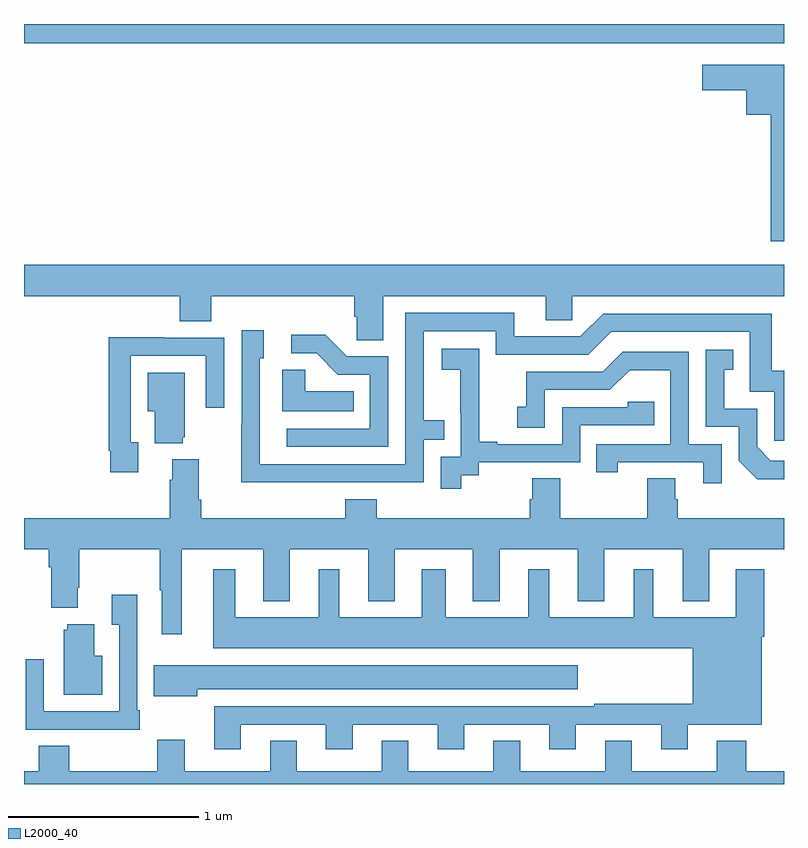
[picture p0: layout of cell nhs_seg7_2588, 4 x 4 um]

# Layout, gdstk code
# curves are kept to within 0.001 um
import gdstk
lib = gdstk.Library(unit=1e-6, precision=1e-09)
def R(c, l, rs):  # rectangles x0, y0, x1, y1
    for r in rs: c.add(gdstk.rectangle(r[:2], r[2:], *l))
def P(c, l, *ps):  # polygons
    for p in ps: c.add(gdstk.Polygon(p, *l))
L2000_40 = (2000, 40)

nhs_seg7_2588 = lib.new_cell('nhs_seg7_2588')
R(nhs_seg7_2588, L2000_40, [(279,1049.9,283,1050)])
P(nhs_seg7_2588, L2000_40, [(283,1049.785),(282.57,1049.785),(282.57,1049.651),(282.8,1049.651),(282.8,1049.522),(282.93,1049.522),(282.93,1048.857),(283,1048.857)],
  [(280.891,1048.568),(281.747,1048.568),(281.747,1048.441),(281.886,1048.441),(281.886,1048.568),(283,1048.568),(283,1048.732),(279,1048.732),(279,1048.568),(279.821,1048.568),(279.821,1048.435),(279.986,1048.435),(279.986,1048.568),(280.739,1048.568),(280.739,1048.459),(280.752,1048.459),(280.752,1048.336),(280.891,1048.336)],
  [(280.607,1047.588),(281.103,1047.588),(281.103,1047.813),(281.213,1047.813),(281.213,1047.914),(281.103,1047.914),(281.103,1048.383),(281.484,1048.383),(281.484,1048.26),(281.97,1048.26),(282.09,1048.38),(282.819,1048.38),(282.819,1048.065),(282.948,1048.065),(282.948,1047.807),(283,1047.807),(283,1048.174),(282.935,1048.174),(282.935,1048.476),(282.048,1048.476),(281.928,1048.356),(281.581,1048.356),(281.581,1048.479),(281.007,1048.479),(281.007,1047.684),(280.242,1047.684),(280.242,1048.242),(280.261,1048.242),(280.261,1048.387),(280.146,1048.387),(280.146,1047.893),(280.144,1047.893),(280.144,1047.587)],
  [(280.917,1048.251),(280.698,1048.251),(280.585,1048.364),(280.407,1048.364),(280.407,1048.266),(280.541,1048.266),(280.652,1048.155),(280.821,1048.155),(280.821,1047.87),(280.383,1047.87),(280.383,1047.774),(280.917,1047.774)],
  [(279.601,1047.798),(279.561,1047.798),(279.561,1048.254),(279.957,1048.254),(279.957,1047.981),(280.053,1047.981),(280.053,1048.35),(279.737,1048.35),(279.737,1048.352),(279.445,1048.352),(279.445,1047.754),(279.453,1047.754),(279.453,1047.642),(279.601,1047.642)],
  [(281.302,1047.625),(281.394,1047.625),(281.394,1047.693),(281.928,1047.693),(281.928,1047.888),(282.317,1047.888),(282.317,1048.011),(282.177,1048.011),(282.177,1047.984),(281.832,1047.984),(281.832,1047.789),(281.491,1047.789),(281.491,1047.802),(281.396,1047.802),(281.396,1048.085),(281.397,1048.085),(281.397,1048.291),(281.199,1048.291),(281.199,1048.181),(281.297,1048.181),(281.297,1047.953),(281.298,1047.953),(281.298,1047.723),(281.193,1047.723),(281.193,1047.555),(281.302,1047.555)],
  [(283,1047.702),(282.93,1047.702),(282.858,1047.774),(282.858,1047.975),(282.685,1047.975),(282.685,1048.179),(282.734,1048.179),(282.734,1048.285),(282.588,1048.285),(282.588,1047.879),(282.762,1047.879),(282.762,1047.702),(282.86,1047.605),(283,1047.605)],
  [(282.672,1047.789),(282.498,1047.789),(282.498,1048.275),(282.152,1048.275),(282.047,1048.17),(281.644,1048.17),(281.644,1047.985),(281.595,1047.985),(281.595,1047.876),(281.742,1047.876),(281.742,1048.074),(282.084,1048.074),(282.188,1048.178),(282.402,1048.178),(282.402,1047.789),(282.013,1047.789),(282.013,1047.642),(282.124,1047.642),(282.124,1047.693),(282.575,1047.693),(282.575,1047.582),(282.672,1047.582)],
  [(280.736,1048.066),(280.479,1048.066),(280.479,1048.181),(280.358,1048.181),(280.358,1047.962),(280.736,1047.962)],
  [(279.836,1047.825),(279.847,1047.825),(279.847,1048.165),(279.65,1048.165),(279.65,1047.962),(279.689,1047.962),(279.689,1047.794),(279.836,1047.794)],
  [(279.829,1047.236),(280.259,1047.236),(280.259,1046.963),(280.399,1046.963),(280.399,1047.236),(280.811,1047.236),(280.811,1046.963),(280.951,1046.963),(280.951,1047.236),(281.363,1047.236),(281.363,1046.963),(281.503,1046.963),(281.503,1047.236),(281.915,1047.236),(281.915,1046.963),(282.055,1046.963),(282.055,1047.236),(282.467,1047.236),(282.467,1046.963),(282.607,1046.963),(282.607,1047.236),(283,1047.236),(283,1047.4),(282.44,1047.4),(282.44,1047.498),(282.427,1047.498),(282.427,1047.608),(282.28,1047.608),(282.28,1047.4),(281.823,1047.4),(281.823,1047.608),(281.675,1047.608),(281.675,1047.498),(281.663,1047.498),(281.663,1047.4),(280.856,1047.4),(280.856,1047.499),(280.691,1047.499),(280.691,1047.4),(279.932,1047.4),(279.932,1047.496),(279.919,1047.496),(279.919,1047.709),(279.779,1047.709),(279.779,1047.602),(279.767,1047.602),(279.767,1047.4),(279,1047.4),(279,1047.236),(279.131,1047.236),(279.131,1047.14),(279.143,1047.14),(279.143,1046.927),(279.283,1046.927),(279.283,1047.034),(279.291,1047.034),(279.291,1047.236),(279.715,1047.236),(279.715,1047.02),(279.725,1047.02),(279.725,1046.787),(279.829,1046.787)],
  [(280.141,1046.313),(280.589,1046.313),(280.589,1046.184),(280.729,1046.184),(280.729,1046.313),(281.177,1046.313),(281.177,1046.184),(281.317,1046.184),(281.317,1046.313),(281.765,1046.313),(281.765,1046.184),(281.905,1046.184),(281.905,1046.313),(282.353,1046.313),(282.353,1046.184),(282.493,1046.184),(282.493,1046.312),(282.883,1046.312),(282.883,1046.774),(282.896,1046.774),(282.896,1047.13),(282.746,1047.13),(282.746,1046.878),(282.313,1046.878),(282.313,1047.13),(282.209,1047.13),(282.209,1046.878),(281.764,1046.878),(281.764,1047.13),(281.654,1047.13),(281.654,1046.878),(281.221,1046.878),(281.221,1047.13),(281.093,1047.13),(281.093,1046.878),(280.66,1046.878),(280.66,1047.13),(280.55,1047.13),(280.55,1046.878),(280.111,1046.878),(280.111,1047.13),(279.995,1047.13),(279.995,1046.714),(282.521,1046.714),(282.521,1046.422),(282.001,1046.422),(282.001,1046.409),(280.001,1046.409),(280.001,1046.184),(280.141,1046.184)],
  [(279.61,1046.389),(279.597,1046.389),(279.597,1046.995),(279.461,1046.995),(279.461,1046.839),(279.501,1046.839),(279.501,1046.382),(279.105,1046.382),(279.105,1046.656),(279.009,1046.656),(279.009,1046.286),(279.325,1046.286),(279.325,1046.285),(279.61,1046.285)],
  [(279.412,1046.674),(279.37,1046.674),(279.37,1046.842),(279.227,1046.842),(279.227,1046.811),(279.209,1046.811),(279.209,1046.471),(279.412,1046.471)],
  [(279.913,1046.498),(281.914,1046.498),(281.914,1046.626),(279.684,1046.626),(279.684,1046.462),(279.913,1046.462)],
  [(283,1046.068),(282.8,1046.068),(282.8,1046.227),(282.647,1046.227),(282.647,1046.068),(282.199,1046.068),(282.199,1046.228),(282.059,1046.228),(282.059,1046.068),(281.611,1046.068),(281.611,1046.228),(281.471,1046.228),(281.471,1046.068),(281.023,1046.068),(281.023,1046.228),(280.883,1046.228),(280.883,1046.068),(280.435,1046.068),(280.435,1046.228),(280.295,1046.228),(280.295,1046.068),(279.847,1046.068),(279.847,1046.233),(279.7,1046.233),(279.7,1046.068),(279.237,1046.068),(279.237,1046.201),(279.077,1046.201),(279.077,1046.068),(279,1046.068),(279,1046),(283,1046)])

lib.write_gds('nhs_seg7_2588.gds')
